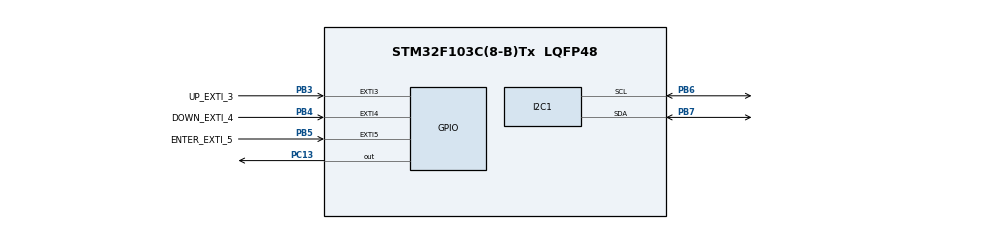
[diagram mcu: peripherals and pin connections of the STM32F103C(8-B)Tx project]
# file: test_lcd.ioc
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I2C1.I2C_Mode=I2C_Standard
Mcu.Family=STM32F1
Mcu.Name=STM32F103C(8-B)Tx
Mcu.Package=LQFP48
NVIC.EXTI3_IRQn=true\:5\:0\:true\:false\:true\:true\:true\:true
NVIC.EXTI4_IRQn=true\:5\:0\:true\:false\:true\:true\:true\:true
NVIC.EXTI9_5_IRQn=true\:5\:0\:true\:false\:true\:true\:true\:true
NVIC.PriorityGroup=NVIC_PRIORITYGROUP_4
PA13.Mode=Serial_Wire
PA13.Signal=SYS_JTMS-SWDIO
PA14.Mode=Serial_Wire
PA14.Signal=SYS_JTCK-SWCLK
PB3.GPIO_Label=UP_EXTI_3
PB3.GPIO_ModeDefaultEXTI=GPIO_MODE_IT_FALLING
PB3.GPIO_PuPd=GPIO_PULLUP
PB3.Signal=GPXTI3
PB4.GPIO_Label=DOWN_EXTI_4
PB4.GPIO_ModeDefaultEXTI=GPIO_MODE_IT_FALLING
PB4.GPIO_PuPd=GPIO_PULLUP
PB4.Signal=GPXTI4
PB5.GPIO_Label=ENTER_EXTI_5
PB5.GPIO_ModeDefaultEXTI=GPIO_MODE_IT_FALLING
PB5.GPIO_PuPd=GPIO_PULLUP
PB5.Signal=GPXTI5
PB6.Mode=I2C
PB6.Signal=I2C1_SCL
PB7.Mode=I2C
PB7.Signal=I2C1_SDA
PC13-TAMPER-RTC.Signal=GPIO_Output
ProjectManager.HeapSize=0x200
ProjectManager.StackSize=0x400
ProjectManager.TargetToolchain=STM32CubeIDE
RCC.APB1Freq_Value=8000000
RCC.APB2Freq_Value=8000000
board=custom

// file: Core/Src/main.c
/* USER CODE BEGIN Header */
/**
  ******************************************************************************
  * @file           : main.c
  * @brief          : Main program body
  ******************************************************************************
  * @attention
  *
  * Copyright (c) 2024 STMicroelectronics.
  * All rights reserved.
  *
  * This software is licensed under terms that can be found in the LICENSE file
  * in the root directory of this software component.
  * If no LICENSE file comes with this software, it is provided AS-IS.
  *
  ******************************************************************************
  */
/* USER CODE END Header */
#include "main.h"

/* USER CODE BEGIN Includes */
#include<lcd_user.h>
/* USER CODE END Includes */

I2C_HandleTypeDef hi2c1;

/* USER CODE BEGIN PV */
uint8_t state_lcd = 0;
uint8_t Status_Display_1 = 0;
uint8_t lcd_on_off = 0;
/* USER CODE END PV */

void SystemClock_Config(void);
static void MX_GPIO_Init(void);
static void MX_I2C1_Init(void);

/* USER CODE BEGIN 0 */
void HAL_GPIO_EXTI_Callback(uint16_t GPIO_Pin)
{
//	static uint32_t TimeBegin = 0;
//	static uint32_t TimeNow = 0;
	/*CODE ISR*/
	flag_button = 1;
	if(UP_EXTI_3_Pin == GPIO_Pin)
	{
//		flag_button = 1;
		Config++;
		if(Config > CONFIG_ROW3) Config = CONFIG_ROW1;
	}
	if(DOWN_EXTI_4_Pin == GPIO_Pin)
	{
//		flag_button = 1;
		Config--;
		if(Config < CONFIG_ROW1) Config = CONFIG_ROW3;
	}
	if(ENTER_EXTI_5_Pin == GPIO_Pin)
	{
		if(1 == Mode)
		{
			Enter = 1;
		}
		else
		{
			Mode = 1;
		}
	}
	/*END CODE ISR*/
	HAL_Delay(40);
//	TimeBegin = HAL_GetTick();
	while(		HAL_GPIO_ReadPin(UP_EXTI_3_GPIO_Port, UP_EXTI_3_Pin) == GPIO_PIN_RESET		\
			|| 	HAL_GPIO_ReadPin(DOWN_EXTI_4_GPIO_Port, DOWN_EXTI_4_Pin) == GPIO_PIN_RESET 		\
			|| 	HAL_GPIO_ReadPin(ENTER_EXTI_5_GPIO_Port, ENTER_EXTI_5_Pin) == GPIO_PIN_RESET
		 )
	{
//		TimeNow = HAL_GetTick();
//		if(TimeNow - TimeBegin >= 5000)
//		{
////			ButtonError = 1;
//			break;
//		}
	}
	HAL_Delay(40);
	EXTI->PR = UP_EXTI_3_Pin | DOWN_EXTI_4_Pin | ENTER_EXTI_5_Pin;
}
/* USER CODE END 0 */

int main(void)
{
  /* USER CODE BEGIN 1 */
	CLCD_I2C_Name LCD1;
  /* USER CODE END 1 */

  /* MCU Configuration--------------------------------------------------------*/

  /* Reset of all peripherals, Initializes the Flash interface and the Systick. */
  HAL_Init();

  /* Configure the system clock */
  SystemClock_Config();

  /* Initialize all configured peripherals */
  MX_GPIO_Init();
  MX_I2C1_Init();
  /* USER CODE BEGIN 2 */
  CLCD_I2C_Init(&LCD1, &hi2c1, (0x27 << 1), 16, 4);
//  lcd_user_display(&LCD1, STATUS_1);
  /* USER CODE END 2 */

  /* Infinite loop */
  /* USER CODE BEGIN WHILE */
  while (1)
  {
	  if(lcd_on_off)
	  {
		  lcd_system_handler(&LCD1);
	  }
	  HAL_GPIO_TogglePin(GPIOC, GPIO_PIN_13);
	  HAL_Delay(1000);
//	  HAL_Delay(100);
    /* USER CODE END WHILE */

  }
}

void SystemClock_Config(void)
{
  RCC_OscInitTypeDef RCC_OscInitStruct = {0};
  RCC_ClkInitTypeDef RCC_ClkInitStruct = {0};

  /** Initializes the RCC Oscillators according to the specified parameters
  * in the RCC_OscInitTypeDef structure.
  */
  RCC_OscInitStruct.OscillatorType = RCC_OSCILLATORTYPE_HSI;
  RCC_OscInitStruct.HSIState = RCC_HSI_ON;
  RCC_OscInitStruct.HSICalibrationValue = RCC_HSICALIBRATION_DEFAULT;
  RCC_OscInitStruct.PLL.PLLState = RCC_PLL_NONE;
  if (HAL_RCC_OscConfig(&RCC_OscInitStruct) != HAL_OK)
  {
    Error_Handler();
  }

  /** Initializes the CPU, AHB and APB buses clocks
  */
  RCC_ClkInitStruct.ClockType = RCC_CLOCKTYPE_HCLK|RCC_CLOCKTYPE_SYSCLK
                              |RCC_CLOCKTYPE_PCLK1|RCC_CLOCKTYPE_PCLK2;
  RCC_ClkInitStruct.SYSCLKSource = RCC_SYSCLKSOURCE_HSI;
  RCC_ClkInitStruct.AHBCLKDivider = RCC_SYSCLK_DIV1;
  RCC_ClkInitStruct.APB1CLKDivider = RCC_HCLK_DIV1;
  RCC_ClkInitStruct.APB2CLKDivider = RCC_HCLK_DIV1;

  if (HAL_RCC_ClockConfig(&RCC_ClkInitStruct, FLASH_LATENCY_0) != HAL_OK)
  {
    Error_Handler();
  }
}

static void MX_I2C1_Init(void)
{

  hi2c1.Instance = I2C1;
  hi2c1.Init.ClockSpeed = 100000;
  hi2c1.Init.DutyCycle = I2C_DUTYCYCLE_2;
  hi2c1.Init.OwnAddress1 = 0;
  hi2c1.Init.AddressingMode = I2C_ADDRESSINGMODE_7BIT;
  hi2c1.Init.DualAddressMode = I2C_DUALADDRESS_DISABLE;
  hi2c1.Init.OwnAddress2 = 0;
  hi2c1.Init.GeneralCallMode = I2C_GENERALCALL_DISABLE;
  hi2c1.Init.NoStretchMode = I2C_NOSTRETCH_DISABLE;
  if (HAL_I2C_Init(&hi2c1) != HAL_OK)
  {
    Error_Handler();
  }

}

static void MX_GPIO_Init(void)
{
  GPIO_InitTypeDef GPIO_InitStruct = {0};

  /* GPIO Ports Clock Enable */
  __HAL_RCC_GPIOC_CLK_ENABLE();
  __HAL_RCC_GPIOA_CLK_ENABLE();
  __HAL_RCC_GPIOB_CLK_ENABLE();

  /*Configure GPIO pin Output Level */
  HAL_GPIO_WritePin(GPIOC, GPIO_PIN_13, GPIO_PIN_RESET);

  /*Configure GPIO pin : PC13 */
  GPIO_InitStruct.Pin = GPIO_PIN_13;
  GPIO_InitStruct.Mode = GPIO_MODE_OUTPUT_PP;
  GPIO_InitStruct.Pull = GPIO_NOPULL;
  GPIO_InitStruct.Speed = GPIO_SPEED_FREQ_LOW;
  HAL_GPIO_Init(GPIOC, &GPIO_InitStruct);

  /*Configure GPIO pins : UP_EXTI_3_Pin DOWN_EXTI_4_Pin ENTER_EXTI_5_Pin */
  GPIO_InitStruct.Pin = UP_EXTI_3_Pin|DOWN_EXTI_4_Pin|ENTER_EXTI_5_Pin;
  GPIO_InitStruct.Mode = GPIO_MODE_IT_FALLING;
  GPIO_InitStruct.Pull = GPIO_PULLUP;
  HAL_GPIO_Init(GPIOB, &GPIO_InitStruct);

  /* EXTI interrupt init*/
  HAL_NVIC_SetPriority(EXTI3_IRQn, 5, 0);
  HAL_NVIC_EnableIRQ(EXTI3_IRQn);

  HAL_NVIC_SetPriority(EXTI4_IRQn, 5, 0);
  HAL_NVIC_EnableIRQ(EXTI4_IRQn);

  HAL_NVIC_SetPriority(EXTI9_5_IRQn, 5, 0);
  HAL_NVIC_EnableIRQ(EXTI9_5_IRQn);

}

void Error_Handler(void)
{
  __disable_irq();
  while (1)
  {
  }
}
